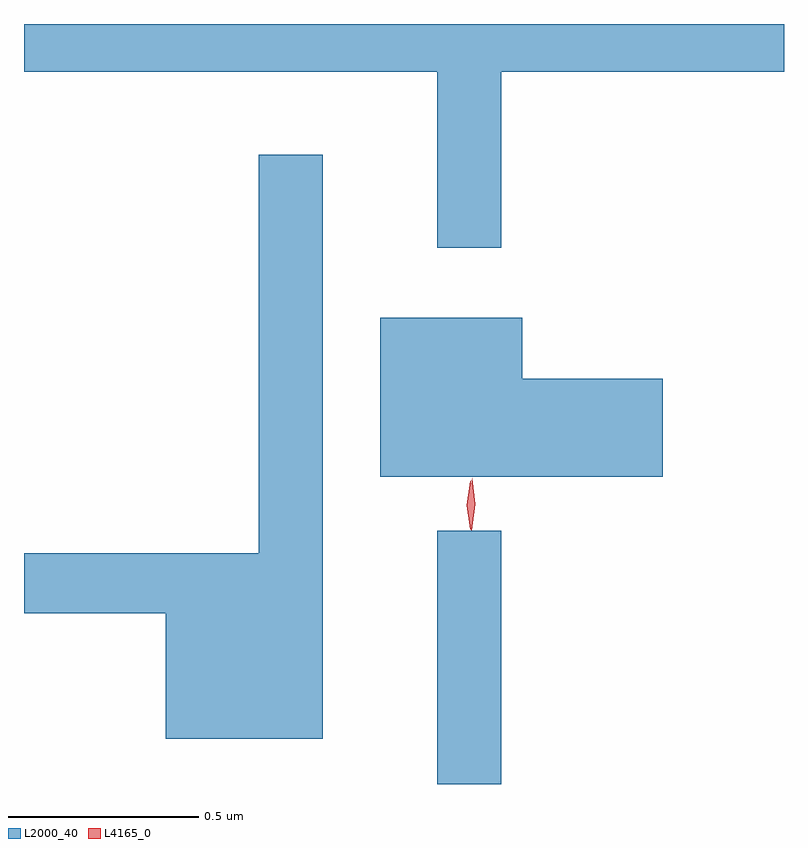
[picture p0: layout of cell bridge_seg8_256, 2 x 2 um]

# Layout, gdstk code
import gdstk
lib = gdstk.Library(unit=1e-6, precision=1e-09)
def R(c, l, rs):  # rectangles x0, y0, x1, y1
    for r in rs: c.add(gdstk.rectangle(r[:2], r[2:], *l))
def P(c, l, *ps):  # polygons
    for p in ps: c.add(gdstk.Polygon(p, *l))
L2000_40 = (2000, 40)
L4165_0 = (4165, 0)

bridge_seg8_256 = lib.new_cell('bridge_seg8_256')
R(bridge_seg8_256, L2000_40, [(1052.211,1830.102,1052.379,1830.768)])
P(bridge_seg8_256, L2000_40, [(1052.379,1831.976),(1053.123,1831.976),(1053.123,1832.102),(1051.123,1832.102),(1051.123,1831.976),(1052.211,1831.976),(1052.211,1831.513),(1052.379,1831.513)],
  [(1051.909,1831.758),(1051.741,1831.758),(1051.741,1830.709),(1051.123,1830.709),(1051.123,1830.551),(1051.496,1830.551),(1051.496,1830.221),(1051.909,1830.221)],
  [(1052.804,1831.169),(1052.434,1831.169),(1052.434,1831.329),(1052.061,1831.329),(1052.061,1830.911),(1052.804,1830.911)])
P(bridge_seg8_256, L4165_0, [(1052.3,1830.77),(1052.3,1830.77),(1052.291,1830.838),(1052.302,1830.905),(1052.302,1830.906),(1052.302,1830.905),(1052.311,1830.838),(1052.301,1830.77)],
  [(1052.297,1830.773),(1052.288,1830.836),(1052.297,1830.899),(1052.298,1830.9),(1052.298,1830.899),(1052.308,1830.836),(1052.298,1830.773),(1052.298,1830.773)])

lib.write_gds('bridge_seg8_256.gds')
